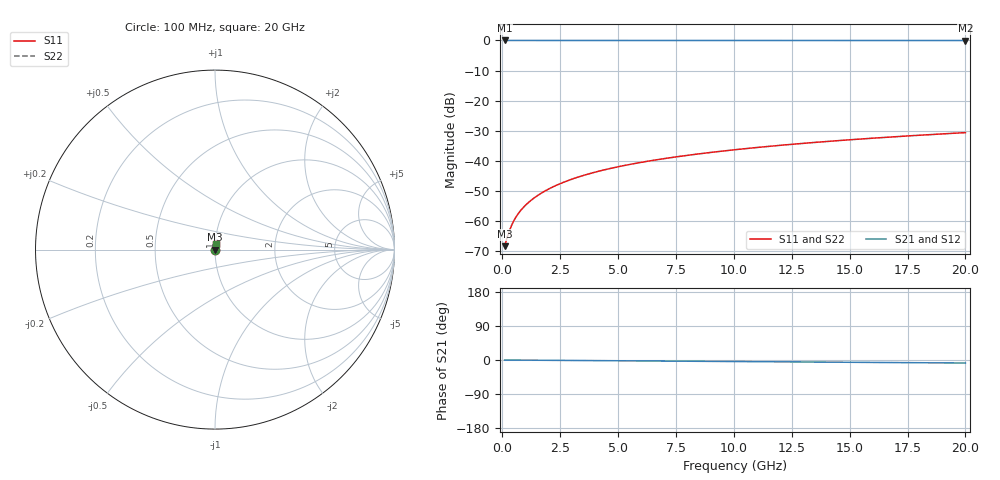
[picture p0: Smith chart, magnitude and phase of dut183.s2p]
! Touchstone file exported from HFSS 2026.1.0
!  File:  C:/ffzhzh/LocalFiles/Ansys_Project_Files/temp_train_TSV_183_1782991312_41620.aedt
!  Generated:  07:23:37 PM Jul  2, 2026
!  Design:  TSV
!  Project:  temp_train_TSV_183_1782991312_41620
! Variables:
!  h_bsmrdl = 2um
!  h_ox = 20um
!  h_rdl = 5um
!  h_sub = 80.84um
!  h_tmrdl = 5um
!  h_tsv = 80.84um
!  h_via = 3um
!  l_bsmrdl = 300um
!  l_sub = 411.24um
!  l_tmrdl = 200um
!  m_sub = 200um
!  pitch = 30.3um
!  r_tsv = 5.62um
!  s_tmrdl = 10um
!  w_bsmrdl = 18um
!  w_sub = 500um
!  w_tmrdl = 12um
!  x_tsv_center1 = 206um
!  x_tsv_center2 = 524um
!  x_tsv_center3 = 736um
!  x_tsv_center4 = 1054um
!  x_tsv_center5 = 1266um
!  x_tsv_center6 = 1584um
# GHz S MA R 50.000000
! Terminal data exported
! Port[1] = TSV1_1_T1
! Port[2] = TSV1_1_T2
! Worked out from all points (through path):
!   200 points, 100 MHz to 20 GHz, reference 50 ohm
!   highest |S21| = 0.00 dB at 100 MHz (marker M1); lowest = 0.0 dB at 20 GHz (marker M2)
!   group delay of S21, straight-line fit = 1.11 ps
!   lowest |S11| = -68.3 dB at 100 MHz (marker M3), VSWR 1.00, Z = 50 + j0.0195 ohm
!   |S11| at or under -10 dB: start of sweep to end of sweep
!   |S22| runs from -68.3 to -30.6 dB; largest |S21 - S12| = 4.6e-15
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0.1  0.0003826 30.7  0.9997 -0.0  0.9997 -0.0  0.0003826 30.7
! Gamma 0 0 0 0
! Port Impedance 50 0 50 0
0.2  0.0005167 48.6  0.9997 -0.1  0.9997 -0.1  0.0005167 48.6
0.3  0.0006782 57.9  0.9996 -0.1  0.9996 -0.1  0.0006782 57.9
0.4  0.0008469 63.1  0.9996 -0.2  0.9996 -0.2  0.0008469 63.1
0.5  0.001016 66.4  0.9996 -0.2  0.9996 -0.2  0.001016 66.4
0.6  0.001182 68.6  0.9996 -0.3  0.9996 -0.3  0.001182 68.6
0.8  0.001509 71.6  0.9995 -0.3  0.9995 -0.3  0.001509 71.6
1.1  0.001987 74.4  0.9995 -0.5  0.9995 -0.5  0.001987 74.4
1.3  0.002303 75.7  0.9994 -0.5  0.9994 -0.5  0.002303 75.7
1.6  0.002775 77.1  0.9994 -0.7  0.9994 -0.7  0.002775 77.1
2.1  0.00356 78.6  0.9993 -0.9  0.9993 -0.9  0.00356 78.6
2.7  0.004494 79.6  0.9993 -1.1  0.9993 -1.1  0.004494 79.6
3.5  0.005722 80.2  0.9991 -1.4  0.9991 -1.4  0.005722 80.2
4.2  0.006781 80.5  0.9991 -1.7  0.9991 -1.7  0.006781 80.5
5  0.007975 80.7  0.999 -2.0  0.999 -2.0  0.007975 80.7
5.9  0.009302 80.8  0.9988 -2.4  0.9988 -2.4  0.009302 80.8
6.8  0.01062 80.8  0.9987 -2.7  0.9987 -2.7  0.01062 80.8
8.3  0.01279 80.7  0.9986 -3.3  0.9986 -3.3  0.01279 80.7
10.1  0.01538 80.5  0.9984 -4.1  0.9984 -4.1  0.01538 80.5
13.4  0.02011 79.9  0.9981 -5.4  0.9981 -5.4  0.02011 79.9
16.7  0.02479 79.0  0.9978 -6.7  0.9978 -6.7  0.02479 79.0
20  0.02942 78.0  0.9975 -8.0  0.9975 -8.0  0.02942 78.0
